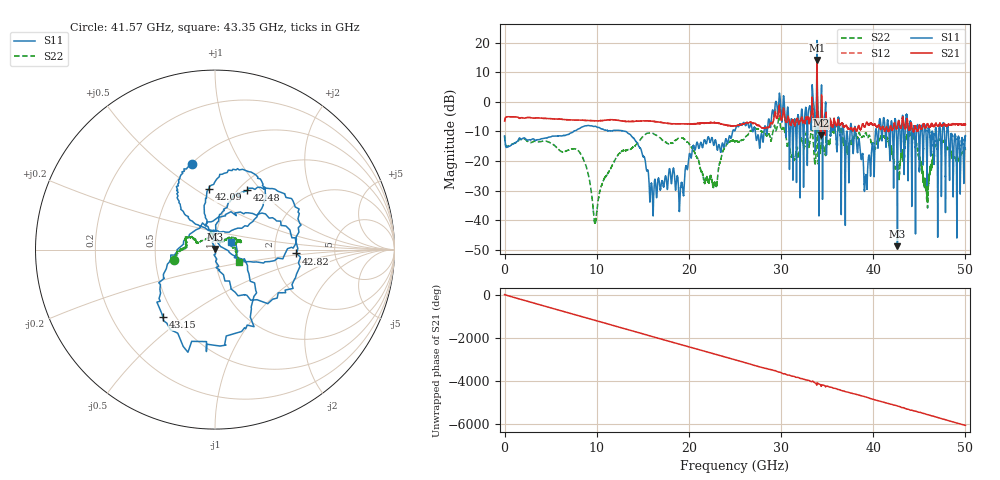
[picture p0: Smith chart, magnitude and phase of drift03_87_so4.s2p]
!Created with skrf (http://scikit-rf.org).
# Hz S RI R 50.0
!freq ReS11 ImS11 ReS21 ImS21 ReS12 ImS12 ReS22 ImS22
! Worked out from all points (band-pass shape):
!   10001 points, 300 kHz to 50 GHz, reference 50 ohm
!   highest |S21| = 14.11 dB at 33.9 GHz (marker M1); lowest = -11.4 dB at 34.32 GHz (marker M2)
!   |S21| within 3 dB of the highest: 33.89056 GHz to 33.90395 GHz (13.39 MHz wide, 0.0395 % of centre)
!   lowest |S11| = -48.7 dB at 42.63 GHz (marker M3), VSWR 1.01, Z = 50 + j0.363 ohm
!   |S11| at or under -10 dB: start of sweep to 7.489 GHz; 13.14 GHz to 24.74 GHz (11.6 GHz wide, 61.3 % of centre); 38.09 GHz to 40.25 GHz (2.151 GHz wide, 5.49 % of centre) (the widest 3 of 49)
!   |S22| runs from -41.3 to 6.6 dB; largest |S21 - S12| = 0.35
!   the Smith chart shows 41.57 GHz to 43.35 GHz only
!   S11 on the Smith chart (normalised r, x): 41.57 GHz: 0.50, +0.64; 42.09 GHz: 0.75, +0.57; 42.48 GHz: 1.10, +0.85; 42.82 GHz: 2.66, -0.14; 43.15 GHz: 0.43, -0.42; 43.35 GHz: 1.18, +0.10
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300000  -0.235 -0.1219  0.466 0.0781  0.4659 0.0804  -0.2357 -0.1254
1.440291e9  0.2101 0.0651  -0.5478 -0.0301  -0.5483 -0.0296  0.2118 -0.00343
2.915283e9  -0.2124 -0.0881  0.5346 0.0524  0.5351 0.0524  -0.2018 0.0398
8.33525e9  0.2897 -0.2331  0.1448 0.467  0.1444 0.4676  -0.0723 -0.1021
9.835241e9  -0.3662 0.1219  -0.1373 -0.4563  -0.1368 -0.4566  0.00865 0.00258
1.66702e10  0.0262 0.0434  -0.3808 0.2518  -0.3812 0.2509  -0.1285 -0.2219
2.500015e10  -0.3265 -0.0163  -0.2528 -0.2989  -0.2513 -0.3017  -0.2131 0.0261
2.895513e10  -0.3274 0.43  -0.2923 0.3226  -0.3012 0.2872  0.0631 0.2224
3.006512e10  0.404 0.2696  0.4541 -0.1917  0.4587 -0.1768  0.1805 -0.2939
3.171011e10  -0.0928 0.1857  -0.3664 0.3539  -0.3682 0.3501  0.0632 0.1584
3.33351e10  0.6525 -0.8163  0.2667 -0.8508  0.2721 -0.8302  -0.1809 -0.4358
3.38951e10  -2.039 -10.64  -5.041 0.594  -4.75 0.7895  0.4149 2.095
3.432009e10  -0.7768 -0.00139  -0.1847 0.1976  -0.2464 0.1779  0.1468 -0.0729
4.156505e10  -0.1307 0.4789  0.3314 0.089  0.3274 0.087  -0.2283 -0.0565
4.167005e10  -0.2059 0.2994  0.316 0.00672  0.3163 0.014  -0.201 -0.00919
4.208505e10  -0.0331 0.3385  0.2369 -0.2286  0.2388 -0.2282  -0.1112 0.0585
4.247505e10  0.1808 0.3302  0.0198 -0.3549  0.0239 -0.3535  -0.0293 0.067
4.262504e10  0.000413 0.00363  -0.1637 -0.3436  -0.1609 -0.3465  -0.0275 0.0935
4.281504e10  0.4538 -0.0213  -0.2503 -0.3516  -0.2518 -0.35  0.0325 0.0446
4.315004e10  -0.2902 -0.3753  -0.4792 0.0644  -0.482 0.0617  0.1413 0.0445
4.334504e10  0.0864 0.0436  -0.3774 0.1134  -0.3806 0.1156  0.1335 -0.0674
5e10  -0.1248 -0.2359  0.136 0.3914  0.1342 0.3866  -0.0492 -0.1458
